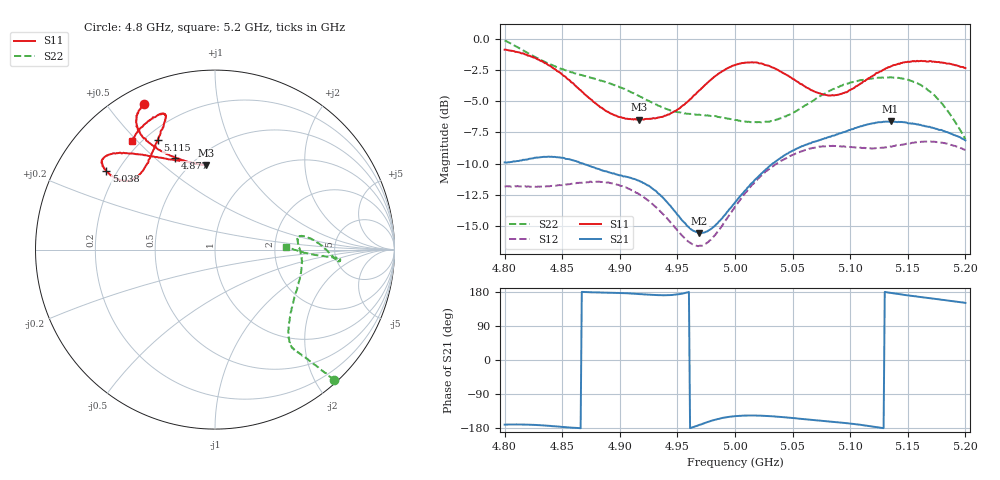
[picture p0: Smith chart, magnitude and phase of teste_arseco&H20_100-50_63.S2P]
! Network Analyzer HP8722D
! Hewlett-Packard
! Data name: Linha & Wilkinson
! Saver's name: Rodrigo Anjos
! Comments: Teste da utilização de aquisição
! continua pelo VNA HP8722D
! Time and date: 6/5/2025 13:05
!  Frequency  S11  S21  S12  S22
# HZ  S  MA R 50
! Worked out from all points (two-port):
!   401 points, 4.8 GHz to 5.2 GHz, reference 50 ohm
!   highest |S21| = -6.61 dB at 5.135 GHz (marker M1); lowest = -15.6 dB at 4.969 GHz (marker M2)
!   |S21| within 3 dB of the highest: 4.822 GHz to 4.853 GHz (31.05 MHz wide, 0.642 % of centre); 5.039 GHz to end of sweep
!   lowest |S11| = -6.5 dB at 4.917 GHz (marker M3), VSWR 2.81, Z = 29.2 + j35.5 ohm
!   |S11| at or under -10 dB: nowhere
!   |S22| runs from -8.0 to -0.1 dB; largest |S21 - S12| = 0.83
!   S11 on the Smith chart (normalised r, x): 4.8 GHz: 0.07, +0.63; 4.877 GHz: 0.39, +0.58; 5.038 GHz: 0.16, +0.31; 5.115 GHz: 0.25, +0.58; 5.2 GHz: 0.17, +0.48
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4.8e9  0.9036 115.8  0.3196 -170.6  0.2566 -86.0  0.9837 -47.5
4.818e9  0.8649 120.2  0.3281 -170.5  0.2567 -81.9  0.887 -48.6
4.834e9  0.804 122.5  0.3367 -172.8  0.2561 -76.8  0.8108 -49.7
4.867e9  0.614 118.0  0.3174 179.7  0.2652 -67.3  0.7151 -51.5
4.877e9  0.5591 113.5  0.3059 178.6  0.2677 -66.2  0.693 -51.8
4.901e9  0.4855 101.0  0.2836 176.7  0.2575 -66.7  0.6375 -49.8
4.917e9  0.4744 96.2  0.2697 174.1  0.2384 -68.4  0.5883 -45.7
4.934e9  0.4844 99.1  0.2392 171.1  0.2069 -69.3  0.538 -37.5
4.95e9  0.5207 109.3  0.1975 173.0  0.1709 -65.5  0.5086 -26.9
4.969e9  0.6212 123.4  0.1667 -171.2  0.1484 -47.7  0.4966 -15.0
4.981e9  0.6971 130.1  0.1761 -159.3  0.1607 -33.9  0.4881 -8.7
5e9  0.7836 137.2  0.221 -148.4  0.2129 -21.5  0.4727 -0.3
5.019e9  0.8031 141.7  0.2769 -146.9  0.2717 -18.3  0.4628 5.8
5.038e9  0.7463 144.3  0.3295 -149.8  0.3205 -18.4  0.478 8.8
5.067e9  0.6208 141.8  0.3852 -158.1  0.3653 -20.5  0.5623 4.7
5.088e9  0.5948 133.1  0.4137 -164.0  0.3717 -23.7  0.6367 -1.7
5.115e9  0.6888 117.7  0.4537 -173.6  0.364 -26.6  0.69 -5.3
5.134e9  0.769 111.1  0.4644 177.7  0.3692 -28.7  0.7001 -4.7
5.135e9  0.7739 111.1  0.4673 177.2  0.3704 -28.8  0.7006 -4.8
5.163e9  0.8127 113.0  0.4483 165.3  0.3869 -35.6  0.644 -3.6
5.18e9  0.8017 118.9  0.4298 158.8  0.3835 -40.9  0.548 -2.9
5.2e9  0.7629 127.2  0.3919 150.7  0.3591 -46.3  0.3962 2.4
